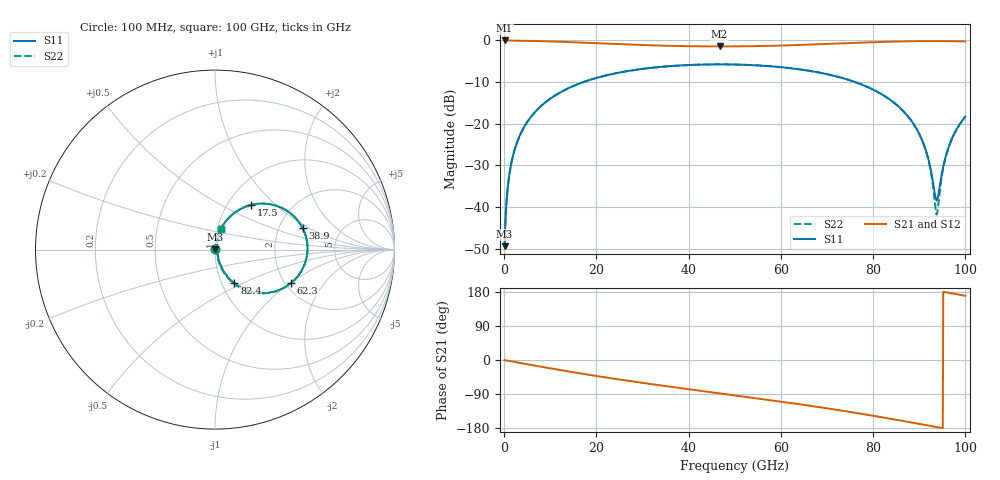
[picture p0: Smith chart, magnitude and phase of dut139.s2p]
! Touchstone file exported from HFSS 2026.1.0
!  File:  C:/ffzhzh/LocalFiles/Ansys_Project_Files/temp_train_RDL_139_1783499720_31944.aedt
!  Generated:  04:36:37 PM Jul  8, 2026
!  Design:  RDL
!  Project:  temp_train_RDL_139_1783499720_31944
! Variables:
!  h_bsmrdl = 2um
!  h_ox = 20um
!  h_rdl = 5um
!  h_sub = 80um
!  h_tmrdl = 4um
!  h_tsv = 80um
!  h_via = 3um
!  l_bsmrdl = 300um
!  l_sub = 1030.13um
!  l_tmrdl = 630.13um
!  m_sub = 200um
!  pitch = 51.3um
!  r_tsv = 6um
!  s_tmrdl = 10um
!  w_bsmrdl = 18um
!  w_sub = 500um
!  w_tmrdl = 25.23um
!  x_tsv_center1 = 642.745um
!  x_tsv_center2 = 960.745um
!  x_tsv_center3 = 1616.105um
!  x_tsv_center4 = 1934.105um
!  x_tsv_center5 = 2589.465um
!  x_tsv_center6 = 2907.465um
# GHz S MA R 50.000000
! Terminal data exported
! Port[1] = TM_RDL1_1_T1
! Port[2] = TM_RDL1_1_T2
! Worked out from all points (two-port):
!   1000 points, 100 MHz to 100 GHz, reference 50 ohm
!   highest |S21| = -0.02 dB at 100 MHz (marker M1); lowest = -1.5 dB at 46.7 GHz (marker M2)
!   |S21| within 3 dB of the highest: start of sweep to end of sweep
!   lowest |S11| = -49.4 dB at 100 MHz (marker M3), VSWR 1.01, Z = 50.2 + j0.239 ohm
!   |S11| at or under -10 dB: start of sweep to 17.2 GHz; 76.09 GHz to end of sweep
!   |S22| runs from -49.4 to -5.8 dB; largest |S21 - S12| = 1.8e-14
!   S11 on the Smith chart (normalised r, x): 100 MHz: 1.00, +0.00; 17.5 GHz: 1.28, +0.71; 38.9 GHz: 2.71, +0.87; 62.3 GHz: 2.14, -1.01; 82.4 GHz: 1.15, -0.45; 100 GHz: 1.04, +0.25
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0.1  0.003399 44.5  0.9976 -0.2  0.9976 -0.2  0.003399 44.5
! Gamma 0 0 0 0
! Port Impedance 50 0 50 0
0.8  0.01769 78.2  0.9968 -1.8  0.9968 -1.8  0.01769 78.2
1.4  0.03033 80.6  0.9962 -3.2  0.9962 -3.2  0.03033 80.5
2.5  0.0535 80.2  0.9948 -5.7  0.9948 -5.7  0.0535 80.2
4  0.08456 77.8  0.9917 -9.0  0.9917 -9.0  0.08456 77.8
9  0.1817 67.7  0.9758 -19.9  0.9758 -19.9  0.1816 67.7
16.8  0.3105 52.3  0.9408 -35.9  0.9408 -35.9  0.3105 52.3
17.5  0.3205 51.0  0.9373 -37.3  0.9373 -37.3  0.3205 50.9
33.4  0.4777 22.7  0.8676 -66.2  0.8676 -66.2  0.4776 22.7
38.9  0.5028 13.8  0.8535 -75.3  0.8535 -75.3  0.5027 13.7
46.7  0.5156 1.4  0.8459 -87.9  0.8459 -87.9  0.5155 1.3
50.1  0.5131 -4.0  0.8474 -93.4  0.8474 -93.4  0.513 -4.1
62.3  0.4622 -23.8  0.8748 -113.7  0.8748 -113.7  0.4621 -24.0
66.7  0.4265 -31.3  0.8918 -121.5  0.8918 -121.5  0.4264 -31.6
82.4  0.2164 -60.1  0.9599 -152.2  0.9599 -152.2  0.2162 -61.0
83.4  0.1989 -61.9  0.9634 -154.3  0.9634 -154.3  0.1987 -62.9
87.4  0.1254 -68.4  0.9744 -162.9  0.9744 -162.9  0.1251 -70.0
90.3  0.06972 -70.2  0.9791 -169.2  0.9791 -169.2  0.06921 -73.3
92  0.03715 -65.0  0.9804 -173.0  0.9804 -173.0  0.03614 -70.7
93.8  0.01201 4.8  0.9806 -176.9  0.9806 -176.9  0.008131 5.7
96.2  0.04945 73.0  0.979 177.8  0.979 177.8  0.04858 77.5
100  0.1219 73.2  0.9721 169.5  0.9721 169.5  0.1215 75.1
